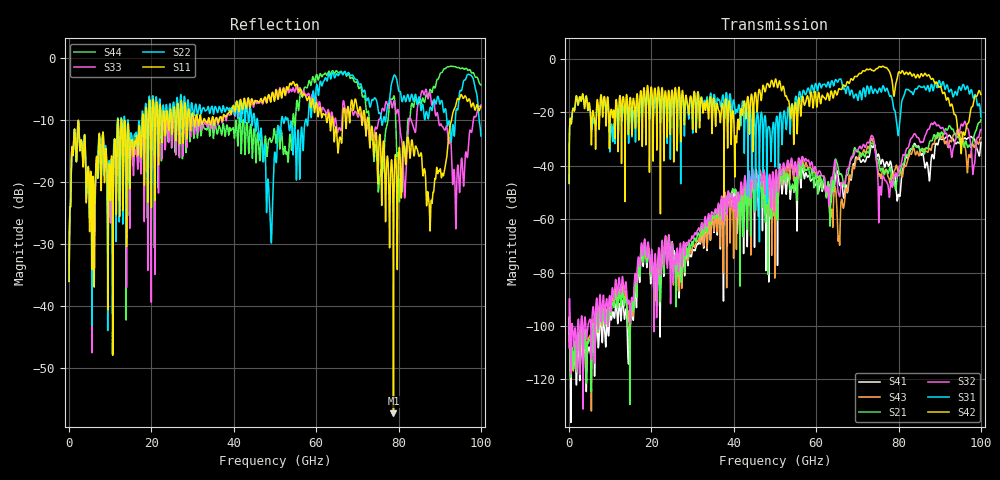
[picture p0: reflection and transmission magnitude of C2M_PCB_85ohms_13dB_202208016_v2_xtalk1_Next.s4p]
! Info: Touchstone file created by Circ.  Input file=Intel_C2M_200G_3p0in_202208016_staggered.circ
# Hz S RI R 50
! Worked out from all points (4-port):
!   10000 points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, 10 MHz to 100 GHz, reference 50 ohm
!   strongest paths, dB at 10 MHz, 25.01 GHz, 50.01 GHz, 75.01 GHz, 100 GHz:
!     S42: -46.5, -11.7, -8.0, -3.4, -13.3
!     S31: -46.6, -13.7, -37.1, -12.3, -21.8
!     S32: -108.3, -68.8, -46.8, -45.6, -26.4
!     S21: -97.4, -68.8, -47.5, -37.6, -22.8
!     S43: -97.8, -68.8, -57.8, -42.1, -29.5
!     S41: -96.8, -68.5, -52.0, -35.7, -31.3
!   lowest |S11| = -57.3 dB at 78.77 GHz (marker M1), VSWR 1.00, Z = 50.1 + j0.118 ohm
!   |S11| at or under -10 dB: start of sweep to 11.84 GHz; 12.79 GHz to 17.79 GHz (5.004 GHz wide, 32.7 % of centre); 72.69 GHz to 92.88 GHz (20.19 GHz wide, 24.4 % of centre)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
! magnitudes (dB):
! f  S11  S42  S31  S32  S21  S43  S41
! 10 MHz  -36.1  -46.5  -46.6  -108.3  -97.4  -97.8  -96.8
! 3.01 GHz  -13.3  -15.4  -15.3  -96.4  -101.5  -100.6  -104.9
! 56.97 GHz  -5.8  -15.9  -11.8  -37.7  -40.6  -40.4  -43.3
! 65.51 GHz  -13.9  -11.2  -7.8  -50.7  -42.1  -66.3  -45.9
! 73.5 GHz  -11.1  -4.3  -11.0  -28.6  -31.6  -29.7  -32.5
! 78.77 GHz  -57.3  -13.1  -18.1  -44.8  -46.0  -42.8  -44.0
! 100 GHz  -7.9  -13.3  -21.8  -26.4  -22.8  -29.5  -31.3
